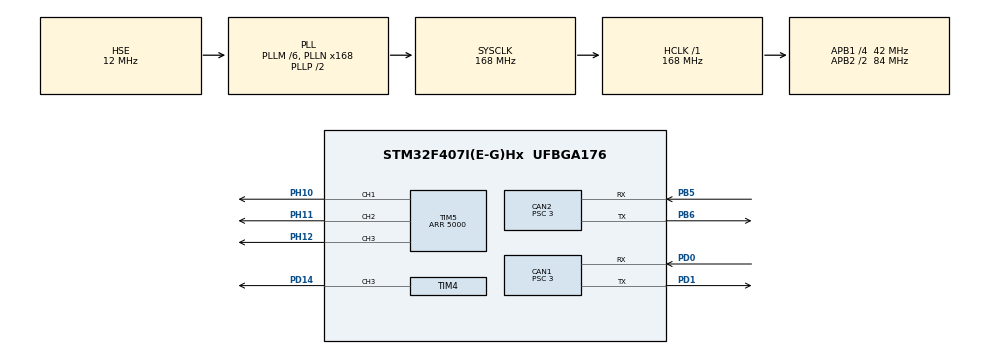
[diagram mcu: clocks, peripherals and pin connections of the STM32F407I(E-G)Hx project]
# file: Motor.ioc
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CAN1.BS1=CAN_BS1_11TQ
CAN1.BS2=CAN_BS2_2TQ
CAN1.CalculateBaudRate=1000000
CAN1.CalculateTimeBit=1000
CAN1.CalculateTimeQuantum=71.42857142857143
CAN1.Prescaler=3
CAN2.BS1=CAN_BS1_11TQ
CAN2.BS2=CAN_BS2_2TQ
CAN2.CalculateBaudRate=1000000
CAN2.CalculateTimeBit=1000
CAN2.CalculateTimeQuantum=71.42857142857143
CAN2.Prescaler=3
Mcu.Family=STM32F4
Mcu.Name=STM32F407I(E-G)Hx
Mcu.Package=UFBGA176
NVIC.CAN1_RX0_IRQn=true\:5\:0\:true\:false\:true\:true\:true\:true
NVIC.CAN1_RX1_IRQn=true\:0\:0\:false\:false\:true\:true\:true\:true
NVIC.CAN2_RX0_IRQn=true\:0\:0\:false\:false\:true\:true\:true\:true
NVIC.CAN2_RX1_IRQn=true\:5\:0\:true\:false\:true\:true\:true\:true
NVIC.PriorityGroup=NVIC_PRIORITYGROUP_4
PA13.Mode=Serial_Wire
PA13.Signal=SYS_JTMS-SWDIO
PA14.Mode=Serial_Wire
PA14.Signal=SYS_JTCK-SWCLK
PB5.Mode=CAN_Activate
PB5.Signal=CAN2_RX
PB6.Mode=CAN_Activate
PB6.Signal=CAN2_TX
PD0.Mode=CAN_Activate
PD0.Signal=CAN1_RX
PD1.Mode=CAN_Activate
PD1.Signal=CAN1_TX
PD14.Signal=S_TIM4_CH3
PH0-OSC_IN.Mode=HSE-External-Oscillator
PH0-OSC_IN.Signal=RCC_OSC_IN
PH1-OSC_OUT.Mode=HSE-External-Oscillator
PH1-OSC_OUT.Signal=RCC_OSC_OUT
PH10.GPIO_PuPd=GPIO_NOPULL
PH10.Signal=S_TIM5_CH1
PH11.Signal=S_TIM5_CH2
PH12.Signal=S_TIM5_CH3
ProjectManager.HeapSize=0x200
ProjectManager.StackSize=0x400
ProjectManager.TargetToolchain=MDK-ARM V5.32
RCC.48MHZClocksFreq_Value=84000000
RCC.AHBFreq_Value=168000000
RCC.APB1CLKDivider=RCC_HCLK_DIV4
RCC.APB1Freq_Value=42000000
RCC.APB1TimFreq_Value=84000000
RCC.APB2CLKDivider=RCC_HCLK_DIV2
RCC.APB2Freq_Value=84000000
RCC.APB2TimFreq_Value=168000000
RCC.CortexFreq_Value=168000000
RCC.HCLKFreq_Value=168000000
RCC.HSE_VALUE=12000000
RCC.HSI_VALUE=16000000
RCC.LSE_VALUE=32768
RCC.PLLM=6
RCC.PLLN=168
RCC.PLLSourceVirtual=RCC_PLLSOURCE_HSE
RCC.SYSCLKFreq_VALUE=168000000
RCC.SYSCLKSource=RCC_SYSCLKSOURCE_PLLCLK
RCC.VCOOutputFreq_Value=336000000
SH.S_TIM4_CH3.0=TIM4_CH3,PWM Generation3 CH3
SH.S_TIM5_CH1.0=TIM5_CH1,PWM Generation1 CH1
SH.S_TIM5_CH2.0=TIM5_CH2,PWM Generation2 CH2
SH.S_TIM5_CH3.0=TIM5_CH3,PWM Generation3 CH3
TIM4.Channel-PWM\ Generation3\ CH3=TIM_CHANNEL_3
TIM4.Period=10000-1
TIM4.Prescaler=1
TIM5.Channel-PWM\ Generation1\ CH1=TIM_CHANNEL_1
TIM5.Channel-PWM\ Generation2\ CH2=TIM_CHANNEL_2
TIM5.Channel-PWM\ Generation3\ CH3=TIM_CHANNEL_3
TIM5.Period=5000
TIM6.Prescaler=84-1
VP_TIM4_VS_ClockSourceINT.Mode=Internal
VP_TIM5_VS_ClockSourceINT.Mode=Internal
VP_TIM6_VS_ClockSourceINT.Mode=Enable_Timer
board=custom

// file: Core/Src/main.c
/* USER CODE BEGIN Header */
/**
  ******************************************************************************
  * @file           : main.c
  * @brief          : Main program body
  ******************************************************************************
  * @attention
  *
  * Copyright (c) 2024 STMicroelectronics.
  * All rights reserved.
  *
  * This software is licensed under terms that can be found in the LICENSE file
  * in the root directory of this software component.
  * If no LICENSE file comes with this software, it is provided AS-IS.
  *
  ******************************************************************************
  */
/* USER CODE END Header */
#include "main.h"
#include "can.h"
#include "tim.h"
#include "gpio.h"

/* USER CODE BEGIN Includes */
#include "RM_Motor.h"
#include "DM_Motor_Ctrl.h"
#include "bsp_tim.h"
/* USER CODE END Includes */

void SystemClock_Config(void);

int main(void)
{

  /* MCU Configuration--------------------------------------------------------*/

  /* Reset of all peripherals, Initializes the Flash interface and the Systick. */
  HAL_Init();

  /* Configure the system clock */
  SystemClock_Config();

  /* Initialize all configured peripherals */
  MX_GPIO_Init();
  MX_CAN1_Init();
  MX_TIM5_Init();
  MX_TIM4_Init();
  MX_TIM6_Init();
  MX_CAN2_Init();
  /* USER CODE BEGIN 2 */
  HAL_TIM_PWM_Start(&htim5, TIM_CHANNEL_1);
  HAL_TIM_PWM_Start(&htim5, TIM_CHANNEL_2);
  HAL_TIM_PWM_Start(&htim5, TIM_CHANNEL_3);

	LED_Red();
	CAN_Filter_Init();
	LED_Green();

	read_motor_ctrl_fbdata(Motor1.id);
  DM_Motor_Enable(&hcan1,&Motor1);
  dm_motor_init();

  /* USER CODE END 2 */

  /* Infinite loop */
  while (1)
  {

    /* USER CODE BEGIN 3 */

		Motor1.ctrl.last_pos =Motor1.ctrl.pos_set;
		Motor1.ctrl.pos_set += (float)(6.28/7.0);
		if(Motor1.ctrl.pos_set > 12.5f )
		{
			DM_disable_motor_mode(&Motor,Motor1.id,MIT_MODE);
			Motor1.ctrl.pos_set = Motor1.ctrl.pos_set - Motor1.ctrl.last_pos;
			save_pos_zero(&Motor,Motor1.id,MIT_MODE);
			DM_Motor_Enable(&hcan1,&Motor1);
		}
		DM_Motor_Ctrl_Send(&Motor,&Motor1);
		HAL_Delay(2000);

//    read_all_motor_data(&Motor1);

  }
  /* USER CODE END 3 */
}

void SystemClock_Config(void)
{
  RCC_OscInitTypeDef RCC_OscInitStruct = {0};
  RCC_ClkInitTypeDef RCC_ClkInitStruct = {0};

  /** Configure the main internal regulator output voltage
  */
  __HAL_RCC_PWR_CLK_ENABLE();
  __HAL_PWR_VOLTAGESCALING_CONFIG(PWR_REGULATOR_VOLTAGE_SCALE1);

  /** Initializes the RCC Oscillators according to the specified parameters
  * in the RCC_OscInitTypeDef structure.
  */
  RCC_OscInitStruct.OscillatorType = RCC_OSCILLATORTYPE_HSE;
  RCC_OscInitStruct.HSEState = RCC_HSE_ON;
  RCC_OscInitStruct.PLL.PLLState = RCC_PLL_ON;
  RCC_OscInitStruct.PLL.PLLSource = RCC_PLLSOURCE_HSE;
  RCC_OscInitStruct.PLL.PLLM = 6;
  RCC_OscInitStruct.PLL.PLLN = 168;
  RCC_OscInitStruct.PLL.PLLP = RCC_PLLP_DIV2;
  RCC_OscInitStruct.PLL.PLLQ = 4;
  if (HAL_RCC_OscConfig(&RCC_OscInitStruct) != HAL_OK)
  {
    Error_Handler();
  }

  /** Initializes the CPU, AHB and APB buses clocks
  */
  RCC_ClkInitStruct.ClockType = RCC_CLOCKTYPE_HCLK|RCC_CLOCKTYPE_SYSCLK
                              |RCC_CLOCKTYPE_PCLK1|RCC_CLOCKTYPE_PCLK2;
  RCC_ClkInitStruct.SYSCLKSource = RCC_SYSCLKSOURCE_PLLCLK;
  RCC_ClkInitStruct.AHBCLKDivider = RCC_SYSCLK_DIV1;
  RCC_ClkInitStruct.APB1CLKDivider = RCC_HCLK_DIV4;
  RCC_ClkInitStruct.APB2CLKDivider = RCC_HCLK_DIV2;

  if (HAL_RCC_ClockConfig(&RCC_ClkInitStruct, FLASH_LATENCY_5) != HAL_OK)
  {
    Error_Handler();
  }
}

void Error_Handler(void)
{
  __disable_irq();
  while (1)
  {
  }
}
